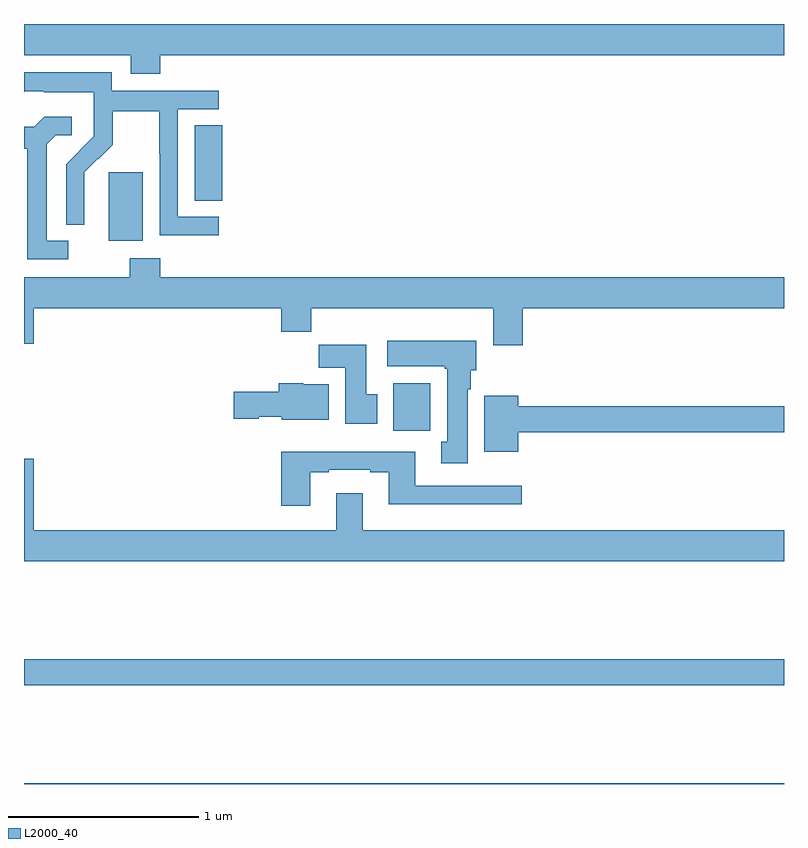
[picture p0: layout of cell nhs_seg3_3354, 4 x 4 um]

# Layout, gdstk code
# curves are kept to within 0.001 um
import gdstk
lib = gdstk.Library(unit=1e-6, precision=1e-09)
def R(c, l, rs):  # rectangles x0, y0, x1, y1
    for r in rs: c.add(gdstk.rectangle(r[:2], r[2:], *l))
def P(c, l, *ps):  # polygons
    for p in ps: c.add(gdstk.Polygon(p, *l))
L2000_40 = (2000, 40)

nhs_seg3_3354 = lib.new_cell('nhs_seg3_3354')
R(nhs_seg3_3354, L2000_40, [(285,710.4,289,710.404), (285,710.92,289,711.056), (286.943,712.26,287.139,712.51), (285.446,713.258,285.625,713.619), (285.899,713.47,286.043,713.867)])
P(nhs_seg3_3354, L2000_40, [(285.716,714.236),(289,714.236),(289,714.4),(285,714.4),(285,714.236),(285.563,714.236),(285.563,714.137),(285.716,714.137)],
  [(286.024,713.385),(285.81,713.385),(285.81,713.952),(286.024,713.952),(286.024,714.048),(285.462,714.048),(285.462,714.145),(285,714.145),(285,714.042),(285.003,714.045),(285.103,714.045),(285.103,714.041),(285.366,714.041),(285.366,713.907),(285.368,713.907),(285.368,713.81),(285.222,713.662),(285.222,713.344),(285.318,713.344),(285.317,713.621),(285.387,713.691),(285.39,713.688),(285.467,713.765),(285.467,713.94),(285.712,713.94),(285.712,713.716),(285.714,713.716),(285.714,713.287),(286.024,713.287)],
  [(285.232,713.259),(285.121,713.259),(285.121,713.767),(285.168,713.814),(285.25,713.814),(285.25,713.911),(285.106,713.911),(285.054,713.859),(285,713.859),(285,713.744),(285.017,713.744),(285.017,713.163),(285.232,713.163)],
  [(287.624,712.904),(289,712.904),(289,713.068),(285.716,713.068),(285.716,713.167),(285.556,713.167),(285.556,713.068),(285,713.068),(285,712.716),(285.052,712.716),(285.052,712.904),(286.355,712.904),(286.355,712.78),(286.511,712.78),(286.511,712.904),(287.471,712.904),(287.471,712.71),(287.624,712.71)],
  [(287.335,712.478),(287.35,712.478),(287.35,712.578),(287.38,712.578),(287.38,712.732),(286.911,712.732),(286.911,712.598),(287.215,712.598),(287.215,712.585),(287.228,712.585),(287.228,712.201),(287.195,712.201),(287.195,712.089),(287.335,712.089)],
  [(286.858,712.452),(286.801,712.452),(286.801,712.711),(286.552,712.711),(286.552,712.592),(286.691,712.592),(286.691,712.296),(286.858,712.296)],
  [(286.603,712.504),(286.47,712.504),(286.47,712.51),(286.34,712.51),(286.34,712.464),(286.104,712.464),(286.104,712.322),(286.236,712.322),(286.236,712.334),(286.356,712.334),(286.356,712.316),(286.603,712.316)],
  [(287.602,712.252),(289,712.252),(289,712.388),(287.602,712.388),(287.602,712.444),(287.423,712.444),(287.423,712.148),(287.602,712.148)],
  [(286.507,712.041),(286.603,712.041),(286.603,712.053),(286.823,712.053),(286.823,712.041),(286.919,712.041),(286.919,711.872),(287.62,711.872),(287.62,711.969),(287.059,711.969),(287.059,712.15),(286.355,712.15),(286.355,711.864),(286.507,711.864)],
  [(289,711.736),(286.783,711.736),(286.783,711.931),(286.643,711.931),(286.643,711.736),(285.052,711.736),(285.052,712.111),(285,712.111),(285,711.572),(289,711.572)])

lib.write_gds('nhs_seg3_3354.gds')
